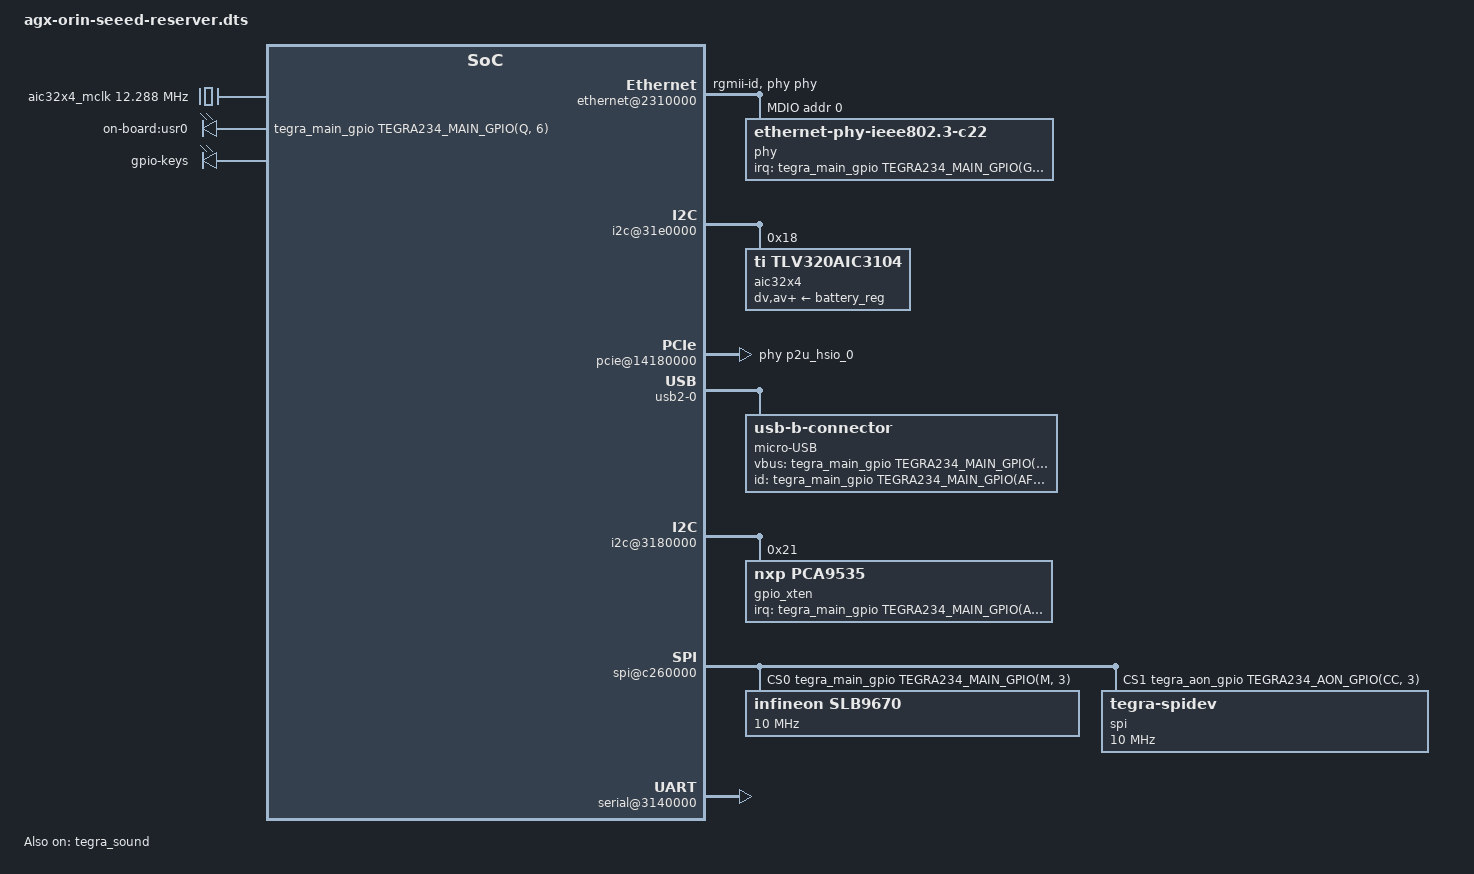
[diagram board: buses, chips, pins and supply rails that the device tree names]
/*
 * Copyright (C) 2022 Seeed Studio
 *
 * MIT License
 *
 */

/dts-v1/;
/plugin/;

#include <dt-bindings/interrupt-controller/irq.h>
#include <dt-bindings/pinctrl/pinctrl-tegra.h>
#include <dt-bindings/gpio/tegra234-gpio.h>
#include <dt-bindings/clock/tegra234-clock.h>
#include <dt-bindings/net/ti-dp83867.h>

/ {
	overlay-name = "Jetson Seeed AGX Orin reServer Overlay";
	jetson-header-name = "Jetson 40pin Header";
	compatible = "nvidia,p3737-0000+p3701-0000", "nvidia,p3737-0000+p3701-0004", "nvidia,p3737-0000+p3701-0005", "nvidia,p3737-0000+p3701-0008";

	//Gigabit Ethernet
	fragment@0 {
		target-path = "/ethernet@2310000";

		__overlay__ {
			status = "okay";
			nvidia,mac-addr-idx = <1>;
			nvidia,max-platform-mtu = <8000>;
			nvidia,pause_frames = <0>;
			nvidia,phy-reset-gpio = <&tegra_main_gpio TEGRA234_MAIN_GPIO(G, 5) 0>;
			phy-handle = <&phy>;
			phy-mode = "rgmii-id";		
		
			mdio {
				compatible = "nvidia,eqos-mdio";
				#address-cells = <1>;
				#size-cells = <0>;
				phy: phy@0 {
					reg = <0>;
					compatible = "ethernet-phy-ieee802.3-c22";
					tx-fifo-depth = <DP83867_PHYCR_FIFO_DEPTH_4_B_NIB>;
					rx-fifo-depth = <DP83867_PHYCR_FIFO_DEPTH_4_B_NIB>;
					ti,max-output-impedance;
				//	ti,clk-output-sel = <DP83867_CLK_O_SEL_CHN_A_RCLK>;
					ti,rx-internal-delay = <DP83867_RGMIIDCTL_2_75_NS>;
					ti,tx-internal-delay = <DP83867_RGMIIDCTL_2_75_NS>;
					interrupt-parent = <&tegra_main_gpio>;
					interrupts = <TEGRA234_MAIN_GPIO(G, 4) IRQ_TYPE_LEVEL_LOW>; //<TODO> Need to check
				};			
			};
		};
	};
	
	//refer to https://forums.developer.nvidia.com/t/tlv320aic3204-driver-will-support-for-agx-orin-64gb-som/239023/40
	//playback
	// amixer -c APE cset name="I2S1 Mux" ADMAIF1
	// aplay -D hw:APE,0 file_example_WAV_10MG.wav
	// amixer -c APE cset name="tlv HP DAC Playback Volume" 118
	// amixer -c APE cset name="tlv PCM Playback Volume" 1
	// amixer -c APE cset name="tlv PGA Level Volume" 95


	// //record
	// amixer -c APE cset name="ADMAIF1 Mux" I2S1
	// arecord -D hw:APE,0 -c 2 -r 48000 -f S16_LE -d 15 my.wav
	fragment@1 {
		target-path = "/i2c@31e0000";
		__overlay__ {
			#address-cells = <1>;
			#size-cells = <0>;
			
			/delete-node/ rt5640.8-0018@18;

			aic32x4: tlv320aic3104.1-001b@18 {
				compatible = "ti,tlv320aic3104";
				status = "okay";
				reg = <0x18>;
				clocks = <&bpmp TEGRA234_CLK_AUD_MCLK>;
				//clocks = <&tegra_car TEGRA186_CLK_AUD_MCLK>; 
				clock-names = "mclk";
				sound-name-prefix = "tlv";
				#sound-dai-cells = <1>;
				dv-supply = <&battery_reg>;
				av-supply = <&battery_reg>;
				iov-supply = <&battery_reg>;
			};
		};
	};

	fragment@2 {
		target-path="/";
		__overlay__ {
			clocks {
				aic32x4_mclk: aic32x4_mclk {
					compatible = "fixed-clock";
					#clock-cells = <0>;
					clock-frequency = <12288000>;
					clock-output-names = "aic32x4-mclk";
					status = "okay";
				};
			};
		};
	};

	fragment@3 {
		target = <&tegra_sound>;

		__overlay__ {
			status = "okay";
			nvidia-audio-card,widgets =
					"Headphone", "tlv Headphone Jack",
					"Line", "tlv Line In";
			nvidia-audio-card,routing =
					"tlv Headphone Jack",       "tlv HPLOUT",
					"tlv Headphone Jack",       "tlv HPROUT",
					"tlv LINE1L",               "tlv Line In",
					"tlv LINE1R",               "tlv Line In";
			nvidia-audio-card,mclk-fs = <256>;
		};
	};

	fragment@4 {
		target = <&i2s1_to_codec>;
		bitclock-master;
		frame-master;
		__overlay__ {
			link-name = "ti-capture";
			format = "i2s";
			codec {
					sound-dai = <&aic32x4 0>;
					prefix = "tlv";
			};
		};
	};

	//sata
	fragment@5{
			target-path="/pcie@14180000";
			__overlay__ {
					status = "okay";
					phys = <&p2u_hsio_0>;
					phy-names = "p2u-0";
			};
	};

	fragment@6{
			target = <&p3737_avdd_cam_2v8>;
			__overlay__ {
				//gpio = <&gpio_xten 14 1>;
				status = "disabled";
			};
	};

	//set typc-c to gpio-usb-b-connector
	//refer to https://docs.nvidia.com/jetson/archives/r35.5.0/DeveloperGuide/HR/JetsonModuleAdaptationAndBringUp/JetsonAgxOrinSeries.html#Under%20the%20Connector%20Node%20(Not%20Used%20on%20the%20P3737%20Carrier%20Board)
	fragment@7{
		//path xusb_padctl@3520000
		target = <&xusb_padctl>;
		__overlay__ {
				ports {
					usb2-0 {
						mode = "otg";
						connector {
							compatible = "usb-b-connector", "gpio-usb-b-connector";
							label = "micro-USB";
							type = "micro";
							vbus-gpio = <&tegra_main_gpio TEGRA234_MAIN_GPIO(AF, 3) GPIO_ACTIVE_HIGH>;
							id-gpio = <&tegra_main_gpio TEGRA234_MAIN_GPIO(AF, 2) GPIO_ACTIVE_HIGH>;
						};
					};
				};
		};
	};

	//PCA9535RGER: IIC to gpio
	//eg: set  M2B_DPR_3V3  to low: sudo gpioset  gpiochip2 0=0 
	fragment@8{
		target-path = "/i2c@3180000";
		__overlay__ {
			#address-cells = <1>;
			#size-cells = <0>;

			gpio_xten: gpio_xten@21 {
				compatible = "nxp,pca9535";
				reg = <0x21>;
				gpio-controller;
				#gpio-cells = <2>;

				interrupt-controller;
				#interrupt-cells=<2>;

				interrupt-parent = <&tegra_main_gpio>;
				interrupts = <TEGRA234_MAIN_GPIO(AC, 5) IRQ_TYPE_EDGE_FALLING>;

				gpio-line-names =
						"M2B_DPR_3V3"			,"M2B_P_OFF_N_3V3",
						"M2B_W_DIS2_N_3V3"		,"PCIe_WAKE_3V3",
						"SIM_MUC_SEL_3V3"		,"PCIe_SX1261_RST_N_3V3",
						"M2B_W_DIS1_N_3V3"		,"M2B_PCIe_RST_N_3V3",
						"CAN1_120R_EN_3V3"		,"CAN0_120R_EN_3V3",
						"TPM_RST_3V3"			,"TPM_CS_3V3",
						"CODEC_RST_N_3V3"		,"USB_HUB_RST_N_3V3",
						"CAM_VDD_SYS_EN_3V3"		,"UART2_EN_3V3";

				gpio-line-offsets = <0>, <1>, <2>, <3>, <4>, <5>, <6>, <7>, <8>, <9>, <10>, <11>, <12>, <13>, <14>, <15>;
			};
		};
	};

	fragment@9 {
		target-path = "/spi@c260000";
		__overlay__ {
			#address-cells = <0x01>;
			#size-cells = <0x0>;

			status = "okay";
			cs-gpios = <&tegra_main_gpio TEGRA234_MAIN_GPIO(M, 3) GPIO_ACTIVE_HIGH>,
						<&tegra_aon_gpio TEGRA234_AON_GPIO(CC, 3) GPIO_ACTIVE_HIGH>;
			num-cs = <2>;

			slb9670@0 {
				compatible = "infineon,slb9670";
				status = "okay";
				reg = <0x0>;
				spi-max-frequency = <10000000>;
				controller-data {
					nvidia,cs-setup-clk-count = <0x1e>;
					nvidia,cs-hold-clk-count = <0x1e>;
					nvidia,rx-clk-tap-delay = <0x7>;
					nvidia,tx-clk-tap-delay = <0x0>;
					nvidia,cs-inactive-cycles = <0x6>;
				};
			};
			spi@1 { /* chips select 1 */
				compatible = "tegra-spidev";
				reg = <0x1>;
				status = "okay";
				spi-max-frequency = <10000000>;
			};
		};
	};

	//remove <&tegra_aon_gpio TEGRA234_AON_GPIO(CC, 3) GPIO_ACTIVE_HIGH>
	fragment@10{
			target = <&dsi_vdd_1v8_bl_en>;
			__overlay__ {
				status = "disabled";
			};
	};

	//HDMI hotplug
	fragment@11{
		target-path = "/display@13800000";
		__overlay__ {
			status = "okay";
			os_gpio_hotplug_a = <&tegra_main_gpio TEGRA234_MAIN_GPIO(M, 0) GPIO_ACTIVE_HIGH>;
		};
	};

	//sudo  modprobe can_raw can
	//ip link set can0 up type can bitrate 500000 dbitrate 1000000 berr-reporting on fd on
	//ip link set can1 up type can bitrate 500000 dbitrate 1000000 berr-reporting on fd on
	//send: cansend can0 123##1abcdabcd
	//candump -x any 

	//CAN0
	fragment@12{
		target-path = "/mttcan@c310000";
		__overlay__ {
			status = "okay";
		};
	};

	//CAN1
	fragment@13{
		target-path = "/mttcan@c320000";
		__overlay__ {
			status = "okay";
		};
	};

	//LED
	fragment@14{
		target-path = "/";
		__overlay__ {
			leds {
				status = "okay";
				compatible = "gpio-leds";

				led {
					label = "on-board:usr0";
					gpios = <&tegra_main_gpio TEGRA234_MAIN_GPIO(Q, 6) GPIO_ACTIVE_HIGH>;
					linux,default-trigger = "cpu0";
					default-state = "off";
				};
				//remove PEE.04
				gpio-keys {
					power_key {
						status = "disabled";
					};
				};
			};
		};
	};
	// Because the following code is applied, the following command cannot be used to apply overlay.
	// sudo /opt/nvidia/jetson-io/config-by-hardware.py  -n "Jetson Seeed AGX Orin reServer Overlay"
	// But fdtoverlay can be used
	//sudo  fdtoverlay -i  /boot/kernel_tegra234-p3701-0005-p3737-0000.dtb -o /boot/kernel_tegra234-p3701-0005-p3737-0000-user-custom.dtb /boot/agx-orin-seeed-reserver.dtbo
	//
	fragment@15{
		target =  <&pinmux>; 
		__overlay__ {
			pinctrl-names = "default";
			pinctrl-0 = <&jetson_io_pinmux>;
			jetson_io_pinmux: exp-header-pinmux {
				uart5_tx_py5 {
						nvidia,pins = "uart5_tx_py5";
						nvidia,function = "uarte";
						nvidia,pull = <TEGRA_PIN_PULL_NONE>;
						nvidia,tristate = <TEGRA_PIN_DISABLE>;
						nvidia,enable-input = <TEGRA_PIN_DISABLE>;
						nvidia,lpdr = <TEGRA_PIN_DISABLE>;
				};

				uart5_rx_py6 {
						nvidia,pins = "uart5_rx_py6";
						nvidia,function = "uarte";
						nvidia,pull = <TEGRA_PIN_PULL_NONE>;
						nvidia,tristate = <TEGRA_PIN_ENABLE>;
						nvidia,enable-input = <TEGRA_PIN_ENABLE>;
						nvidia,lpdr = <TEGRA_PIN_DISABLE>;
				};

				uart5_rts_py7 {
						nvidia,pins = "uart5_rts_py7";
						nvidia,function = "uarte";
						nvidia,pull = <TEGRA_PIN_PULL_UP>;
						nvidia,tristate = <TEGRA_PIN_DISABLE>;
						nvidia,enable-input = <TEGRA_PIN_DISABLE>;
						nvidia,lpdr = <TEGRA_PIN_DISABLE>;
				};

				uart5_cts_pz0 {
						nvidia,pins = "uart5_cts_pz0";
						nvidia,function = "uarte";
						nvidia,pull = <TEGRA_PIN_PULL_NONE>;
						nvidia,tristate = <TEGRA_PIN_ENABLE>;
						nvidia,enable-input = <TEGRA_PIN_ENABLE>;
						nvidia,lpdr = <TEGRA_PIN_DISABLE>;
				};
			};
		};
	};

	//rs485 and uart
	// Use the following command to check whether Pinmux is in effect.
	// seeed@seeed-desktop:~$ sudo cat /sys/kernel/debug/pinctrl/2430000.pinmux/pinconf-groups | grep px5 -A 14
	// 121 (uart2_rx_px5): 
	// 	pull=0
	// 	tristate=1
	// 	enable-input=1
	// 	open-drain=0
	// 	io-reset=0
	// 	rcv-sel=0
	// 	io-hv=0
	// 	loopback=0
	// 	schmitt=0
	// 	pull-down-strength=0
	// 	pull-up-strength=0
	// 	drive-type=0
	// 	func=uartb
	// 	pad-power=0

	// check driver info
	// seeed@seeed-desktop:~$ sudo  cat /proc/tty/driver/tegra_hsuart 
	// serinfo:1.0 driver revision:
	// 0: uart:TEGRA_UART mmio:0x03100000 irq:26 tx:0 rx:0 CTS
	// 1: uart:TEGRA_UART mmio:0x03110000 irq:87 tx:0 rx:0 CTS
	// 3: uart:TEGRA_UART mmio:0x03130000 irq:88 tx:0 rx:0 CTS
	// 4: uart:TEGRA_UART mmio:0x03140000 irq:89 tx:3 rx:0 RTS|CTS|DTR

	// ttyTHS4
	fragment@16{
		target-path = "/serial@3140000";
		__overlay__ {
			status = "okay";
		};
	};

	//ttyTHS0 for M.2 KEY-B (4G/5G)

	//remove fixed-regulators/regulator@111, release PA.00
	fragment@17{
			target = <&p3737_vdd_3v3_sd>;
			__overlay__ {
					status = "disabled";
			};
	};

	//remove fixed-regulators/regulator@114, release PA.01
	fragment@18{
			target = <&p3737_vdd_12v_pcie>;
			__overlay__ {
			 	gpio = <&gpio_xten 14 1>;	
				status = "okay";
			};
	};


	/* PCIe changes for >= P3737-A04 revision. */
	fragment@20 {
		target-path = "/";
		__overlay__ {
			pcie_ep@141a0000 {
				nvidia,refclk-select-gpios = <&tegra_main_gpio
							      TEGRA234_MAIN_GPIO(Q, 1)
							      GPIO_ACTIVE_HIGH>;
			};

			fixed-regulators {
				regulator@105 {
					gpio = <&gpio_xten 5 0>;
				};
			};
		};
	};

};
	
